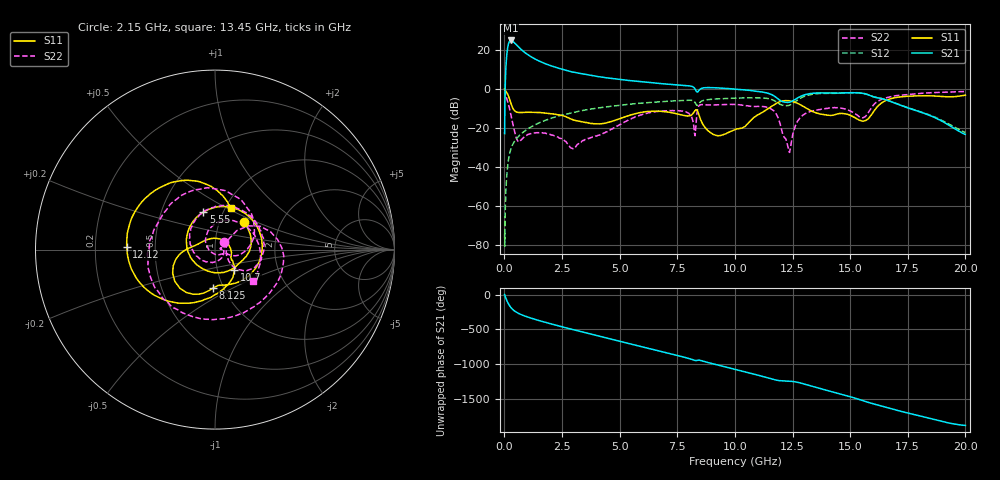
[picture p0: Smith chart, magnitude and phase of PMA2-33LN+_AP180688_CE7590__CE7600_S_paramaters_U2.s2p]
!Mini-Circuits Laboratory
!S-Parameters
!Model: PMA2-33LN+
!Run / Lot / Date Code: CE7590 / NA / 1539
!Fixture: TB-736+
!Network Analyzer: PNA-X N5244A - 423 4 ports;  Serial number: 76276
!Date: 6/16/2020 at 4:09:13 PM
!S/N: Unit# 2 (Unit2)
!Tested with:
# Hz  S  dB  R  50
!Frequency  S11 dB  S11 Deg  S21 dB  S21 Deg  S12 dB  S12 Deg  S22 dB  S22 Deg
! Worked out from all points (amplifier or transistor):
!   959 points, 10 MHz to 20 GHz, reference 50 ohm
!   highest |S21| = 24.7 dB at 280 MHz (marker M1)
!   |S21| within 3 dB of that: 153.7 MHz to 583.8 MHz (430.1 MHz wide, 117 % of centre)
!   unconditionally stable (mu >= 1): start of sweep to end of sweep
!   at 805 MHz: K = 1.03, MAG = 19.8 dB, |S12| = -22.3 dB
!   at 8.025 GHz: K = 1.05, MAG = 2.3 dB, |S12| = -5.8 dB
!   at 20 GHz: K = 15.08, MAG = -15.3 dB, |S12| = -22.4 dB
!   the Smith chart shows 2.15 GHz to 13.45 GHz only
!   S11 on the Smith chart (normalised r, x): 2.15 GHz: 1.31, +0.43; 5.55 GHz: 0.81, +0.36; 8.125 GHz: 0.89, -0.40; 10.7 GHz: 1.21, -0.28; 12.12 GHz: 0.34, +0.01; 13.45 GHz: 1.06, +0.53
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1e7  -0.09 -36.6  -22.97 2.1  -74.13 -110.7  -0.32 -36.5
9e7  -1.67 169.0  15.34 -72.8  -46.92 163.0  -4.67 -177.4
1.6e8  -3.15 105.4  22.06 -121.5  -37.87 134.3  -7.23 135.8
2.25e8  -5.27 56.8  24.26 -158.8  -33.32 113.1  -10.28 107.1
2.8e8  -7.27 20.3  24.69 175.6  -30.90 98.6  -13.20 91.0
3.7e8  -10.00 -32.0  24.17 143.7  -28.35 80.6  -18.12 77.1
4.7e8  -11.57 -79.7  23.05 117.9  -26.42 65.8  -23.25 78.0
6.5e8  -12.19 -137.8  20.92 84.3  -23.96 45.2  -26.97 111.0
8.7e8  -12.09 178.6  18.67 53.8  -21.75 24.4  -24.61 120.7
1.475e9  -12.13 104.7  14.34 -10.7  -17.63 -26.4  -22.55 84.2
2.15e9  -12.93 43.6  11.22 -72.7  -14.65 -80.9  -24.02 39.2
3.35e9  -16.86 -50.7  7.68 -175.0  -11.22 -175.8  -26.97 2.4
5.55e9  -13.18 107.2  4.03 2.6  -7.78 10.0  -15.01 140.0
6.675e9  -11.49 13.8  2.74 -89.4  -6.75 -79.1  -11.61 58.8
8.125e9  -13.36 -93.2  1.23 146.9  -5.92 160.7  -14.52 -37.6
1.0025e10  -20.83 -5.2  -0.21 0.1  -4.82 17.8  -8.10 -144.6
1.07e10  -16.13 -46.4  -0.95 -56.7  -4.64 -38.6  -9.05 158.5
1.2125e10  -6.16 178.5  -6.77 -164.8  -8.54 -148.2  -24.50 -15.6
1.335e10  -11.57 73.3  -2.36 118.1  -2.86 129.3  -11.50 -25.1
1.345e10  -12.08 69.2  -2.24 108.6  -2.68 119.2  -11.25 -39.8
1.6675e10  -5.43 50.3  -6.19 162.8  -6.13 161.7  -4.26 77.0
2e10  -3.30 161.9  -23.34 -87.8  -22.35 -93.9  -1.44 -163.3
